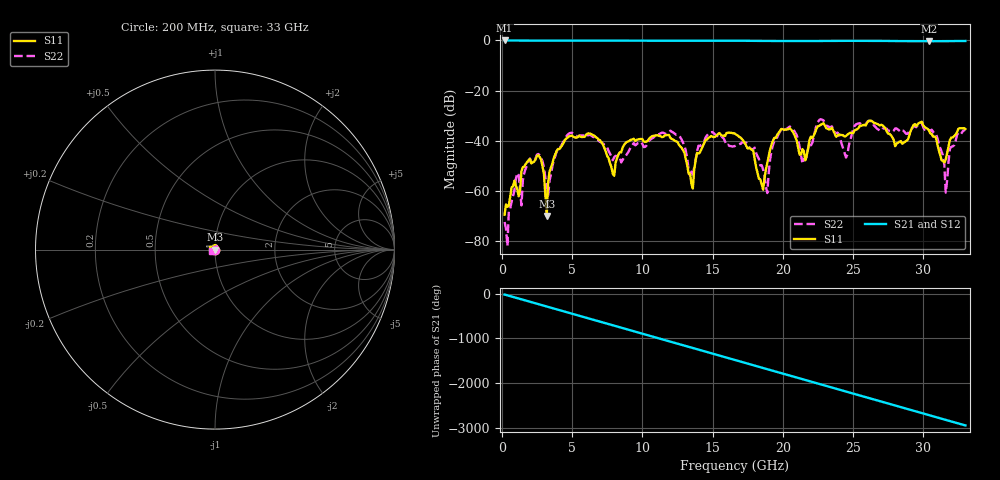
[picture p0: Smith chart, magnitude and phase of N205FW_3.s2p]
# GHZ S RI R 50
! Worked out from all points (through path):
!   329 points, 200 MHz to 33 GHz, reference 50 ohm
!   highest |S21| = -0.02 dB at 200 MHz (marker M1); lowest = -0.3 dB at 30.4 GHz (marker M2)
!   group delay of S21, straight-line fit = 248 ps
!   lowest |S11| = -69.9 dB at 3.2 GHz (marker M3), VSWR 1.00, Z = 50 - j0.0179 ohm
!   |S11| at or under -10 dB: start of sweep to end of sweep
!   |S22| runs from -81.9 to -31.4 dB; largest |S21 - S12| = 0.0022
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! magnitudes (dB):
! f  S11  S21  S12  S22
! 200 MHz  -69.4  0.0  0.0  -72.3
! 400 MHz  -66.2  0.0  0.0  -81.9
! 2.6 GHz  -45.7  -0.1  -0.1  -45.2
! 3.2 GHz  -69.9  -0.1  -0.1  -60.0
! 3.4 GHz  -52.2  -0.1  -0.1  -55.8
! 3.9 GHz  -44.1  -0.1  -0.1  -44.4
! 5.7 GHz  -38.5  -0.1  -0.1  -37.8
! 8 GHz  -53.9  -0.1  -0.1  -46.5
! 11.2 GHz  -38.0  -0.2  -0.2  -37.2
! 13.6 GHz  -58.9  -0.2  -0.2  -53.8
! 14.5 GHz  -39.7  -0.1  -0.1  -38.7
! 16.6 GHz  -37.1  -0.1  -0.1  -42.0
! 18.6 GHz  -59.4  -0.2  -0.2  -51.4
! 18.9 GHz  -48.8  -0.2  -0.2  -60.8
! 19.9 GHz  -35.3  -0.2  -0.2  -35.4
! 22.1 GHz  -38.9  -0.2  -0.2  -40.8
! 27.6 GHz  -37.2  -0.2  -0.2  -36.0
! 30.4 GHz  -35.7  -0.3  -0.3  -35.3
! 31.4 GHz  -48.0  -0.3  -0.3  -45.7
! 31.6 GHz  -47.5  -0.3  -0.3  -60.6
! 31.9 GHz  -39.6  -0.3  -0.3  -43.1
! 33 GHz  -35.2  -0.2  -0.2  -35.9
